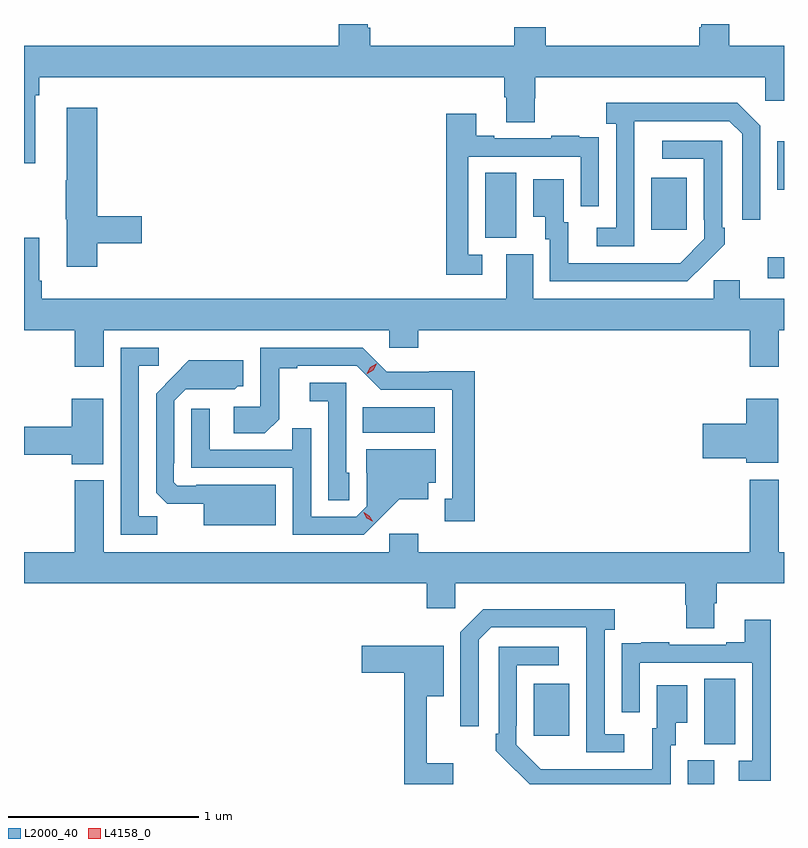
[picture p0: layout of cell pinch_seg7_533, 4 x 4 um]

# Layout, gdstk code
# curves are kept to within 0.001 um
import gdstk
lib = gdstk.Library(unit=1e-6, precision=1e-09)
def R(c, l, rs):  # rectangles x0, y0, x1, y1
    for r in rs: c.add(gdstk.rectangle(r[:2], r[2:], *l))
def P(c, l, *ps):  # polygons
    for p in ps: c.add(gdstk.Polygon(p, *l))
L2000_40 = (2000, 40)
L4158_0 = (4158, 0)

pinch_seg7_533 = lib.new_cell('pinch_seg7_533')
R(pinch_seg7_533, L2000_40, [(148.625,1070.155,148.765,1070.28), (148.712,1070.365,148.876,1070.708), (147.815,1070.409,148.003,1070.683), (146.914,1072.004,147.295,1072.138), (149.046,1072.818,149.132,1072.927), (147.56,1073.029,147.724,1073.372), (148.433,1073.073,148.621,1073.347), (149.096,1073.282,149.132,1073.539)])
P(pinch_seg7_533, L2000_40, [(145.192,1073.78),(145.211,1073.78),(145.211,1073.876),(147.659,1073.876),(147.659,1073.77),(147.671,1073.77),(147.671,1073.638),(147.819,1073.638),(147.819,1073.763),(147.824,1073.763),(147.824,1073.876),(149.034,1073.876),(149.034,1073.75),(149.132,1073.75),(149.132,1074.04),(148.845,1074.04),(148.845,1074.155),(148.697,1074.155),(148.697,1074.138),(148.685,1074.138),(148.685,1074.04),(147.878,1074.04),(147.878,1074.139),(147.713,1074.139),(147.713,1074.04),(146.954,1074.04),(146.954,1074.136),(146.941,1074.136),(146.941,1074.155),(146.789,1074.155),(146.789,1074.04),(145.132,1074.04),(145.132,1073.421),(145.192,1073.421)],
  [(148.344,1073.443),(148.345,1073.643),(148.845,1073.643),(148.911,1073.577),(148.911,1073.124),(149.007,1073.124),(149.007,1073.619),(148.886,1073.74),(148.197,1073.74),(148.197,1073.63),(148.248,1073.63),(148.248,1073.082),(148.146,1073.082),(148.146,1072.986),(148.344,1072.986)],
  [(145.517,1073.002),(145.753,1073.002),(145.753,1073.144),(145.517,1073.144),(145.517,1073.713),(145.358,1073.713),(145.358,1073.333),(145.351,1073.333),(145.351,1073.127),(145.358,1073.127),(145.358,1072.878),(145.517,1072.878)],
  [(147.544,1072.941),(147.471,1072.941),(147.471,1073.457),(148.062,1073.457),(148.062,1073.196),(148.158,1073.196),(148.158,1073.45),(148.157,1073.45),(148.157,1073.559),(148.055,1073.559),(148.055,1073.566),(147.907,1073.566),(147.907,1073.553),(147.607,1073.553),(147.607,1073.566),(147.511,1073.566),(147.511,1073.683),(147.355,1073.683),(147.355,1072.836),(147.544,1072.836)],
  [(148.715,1072.891),(148.716,1072.89),(148.821,1072.995),(148.821,1073.083),(148.806,1073.083),(148.806,1073.541),(148.491,1073.541),(148.491,1073.445),(148.71,1073.445),(148.71,1073.125),(148.713,1073.125),(148.713,1073.025),(148.585,1072.897),(147.997,1072.896),(147.997,1073.112),(147.973,1073.112),(147.973,1073.338),(147.812,1073.338),(147.812,1073.141),(147.875,1073.141),(147.875,1073.022),(147.9,1073.022),(147.9,1072.8),(148.624,1072.8)],
  [(145.552,1072.544),(147.054,1072.544),(147.054,1072.451),(147.206,1072.451),(147.206,1072.544),(148.952,1072.544),(148.952,1072.35),(149.104,1072.35),(149.104,1072.544),(149.132,1072.544),(149.132,1072.708),(148.9,1072.708),(148.9,1072.806),(148.761,1072.806),(148.761,1072.708),(147.811,1072.708),(147.811,1072.944),(147.671,1072.944),(147.671,1072.708),(145.226,1072.708),(145.226,1072.804),(145.213,1072.804),(145.213,1073.029),(145.132,1073.029),(145.132,1072.544),(145.4,1072.544),(145.4,1072.35),(145.552,1072.35)],
  [(145.833,1071.563),(145.737,1071.563),(145.737,1072.356),(145.84,1072.356),(145.84,1072.452),(145.641,1072.452),(145.641,1071.468),(145.833,1071.468)],
  [(147.505,1072.328),(147.264,1072.328),(147.264,1072.326),(147.042,1072.326),(146.916,1072.452),(146.376,1072.452),(146.376,1072.14),(146.235,1072.14),(146.235,1072),(146.399,1072),(146.475,1072.076),(146.475,1072.344),(146.569,1072.344),(146.569,1072.356),(146.883,1072.356),(147.009,1072.23),(147.386,1072.23),(147.386,1071.657),(147.347,1071.657),(147.347,1071.537),(147.505,1071.537)],
  [(146.458,1071.73),(146.038,1071.73),(146.038,1071.726),(145.938,1071.726),(145.92,1071.744),(145.92,1071.844),(145.923,1071.844),(145.923,1072.173),(145.983,1072.233),(146.24,1072.232),(146.256,1072.248),(146.287,1072.248),(146.287,1072.384),(145.999,1072.384),(145.827,1072.21),(145.827,1071.688),(145.886,1071.629),(146.078,1071.629),(146.078,1071.518),(146.458,1071.518)],
  [(146.844,1071.792),(146.829,1071.792),(146.829,1072.266),(146.637,1072.266),(146.637,1072.169),(146.733,1072.169),(146.733,1071.649),(146.844,1071.649)],
  [(145.549,1072.183),(145.382,1072.183),(145.382,1072.034),(145.132,1072.034),(145.132,1071.887),(145.382,1071.887),(145.382,1071.839),(145.549,1071.839)],
  [(149.101,1072.183),(148.934,1072.183),(148.934,1072.052),(148.704,1072.052),(148.704,1071.869),(148.934,1071.869),(148.934,1071.845),(149.101,1071.845)],
  [(147.004,1071.551),(147.107,1071.653),(147.259,1071.653),(147.259,1071.74),(147.298,1071.74),(147.298,1071.916),(146.933,1071.916),(146.933,1071.792),(146.937,1071.792),(146.937,1071.618),(146.88,1071.561),(146.643,1071.561),(146.643,1072.028),(146.545,1072.028),(146.545,1071.915),(146.109,1071.915),(146.109,1072.129),(146.013,1072.129),(146.013,1071.819),(146.547,1071.819),(146.547,1071.468),(146.92,1071.468)],
  [(148.765,1071.106),(148.778,1071.106),(148.778,1071.212),(149.132,1071.212),(149.132,1071.376),(149.104,1071.376),(149.104,1071.757),(148.952,1071.757),(148.952,1071.376),(147.206,1071.376),(147.206,1071.472),(147.054,1071.472),(147.054,1071.376),(145.552,1071.376),(145.552,1071.754),(145.4,1071.754),(145.4,1071.376),(145.132,1071.376),(145.132,1071.212),(147.251,1071.212),(147.251,1071.081),(147.402,1071.081),(147.402,1071.212),(148.613,1071.212),(148.613,1071.099),(148.618,1071.099),(148.618,1070.974),(148.765,1070.974)],
  [(148.291,1070.418),(148.188,1070.418),(148.188,1070.966),(148.24,1070.966),(148.24,1071.076),(147.55,1071.076),(147.429,1070.955),(147.429,1070.46),(147.525,1070.46),(147.525,1070.913),(147.591,1070.979),(148.091,1070.979),(148.092,1070.322),(148.291,1070.322)],
  [(149.061,1071.019),(148.925,1071.019),(148.925,1070.902),(148.829,1070.902),(148.829,1070.889),(148.529,1070.889),(148.529,1070.902),(148.381,1070.902),(148.381,1070.895),(148.279,1070.895),(148.279,1070.786),(148.278,1070.786),(148.278,1070.532),(148.374,1070.532),(148.374,1070.793),(148.965,1070.793),(148.965,1070.277),(148.893,1070.277),(148.893,1070.172),(149.061,1070.172)],
  [(147.391,1070.263),(147.251,1070.263),(147.251,1070.618),(147.34,1070.618),(147.34,1070.883),(146.91,1070.883),(146.91,1070.741),(147.133,1070.741),(147.133,1070.155),(147.391,1070.155)],
  [(148.536,1070.358),(148.561,1070.358),(148.561,1070.477),(148.624,1070.477),(148.624,1070.674),(148.463,1070.674),(148.463,1070.448),(148.439,1070.448),(148.439,1070.232),(147.852,1070.233),(147.723,1070.361),(147.723,1070.461),(147.726,1070.461),(147.726,1070.781),(147.946,1070.781),(147.946,1070.877),(147.63,1070.877),(147.63,1070.419),(147.615,1070.419),(147.615,1070.331),(147.793,1070.155),(148.536,1070.155)])
P(pinch_seg7_533, L4158_0, [(146.937,1072.315),(146.937,1072.315),(146.955,1072.348),(146.987,1072.366),(146.988,1072.366),(146.988,1072.366),(146.97,1072.333),(146.938,1072.315)],
  [(146.966,1071.538),(146.936,1071.554),(146.919,1071.583),(146.919,1071.584),(146.919,1071.584),(146.95,1071.568),(146.967,1071.538),(146.967,1071.538)])

lib.write_gds('pinch_seg7_533.gds')
